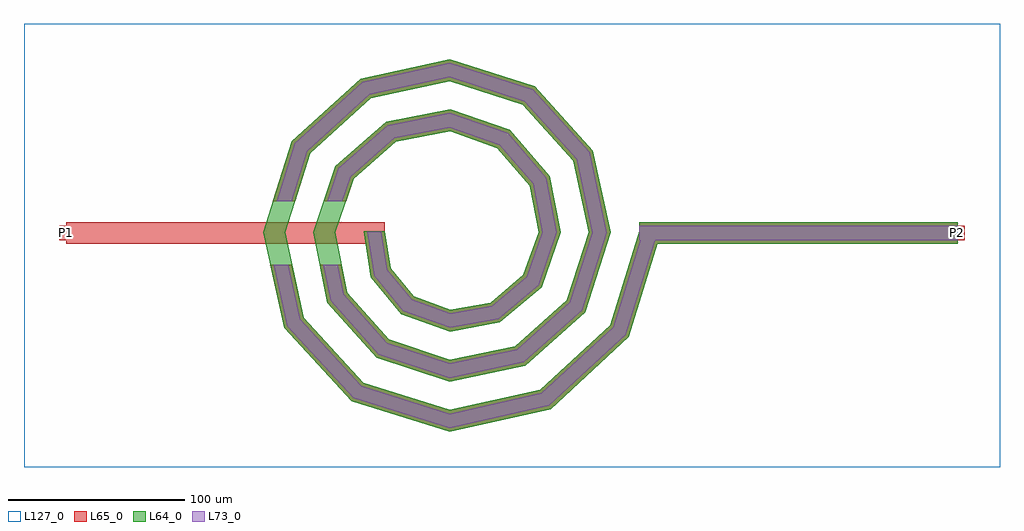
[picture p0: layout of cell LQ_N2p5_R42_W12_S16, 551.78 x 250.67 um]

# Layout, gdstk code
import gdstk
lib = gdstk.Library(unit=1e-6, precision=1e-09)
def R(c, l, rs):  # rectangles x0, y0, x1, y1
    for r in rs: c.add(gdstk.rectangle(r[:2], r[2:], *l))
def P(c, l, *ps):  # polygons
    for p in ps: c.add(gdstk.Polygon(p, *l))
L64_0 = (64, 0)
L65_0 = (65, 0)
L73_0 = (73, 0)
L127_0 = (127, 0)

lq_n2p5_r42_w12_s16 = lib.new_cell('LQ_N2p5_R42_W12_S16')
R(lq_n2p5_r42_w12_s16, L64_0, [(107.292,-6,287.292,6)])
P(lq_n2p5_r42_w12_s16, L64_0, [(-33.175,-19.856),(-20.008,-35.81),(0.55,-43.374),(23.322,-39.343),(41.9,-23.61),(50.45,0.482),(45.503,26.805),(27.199,48),(0.429,57.528),(-30.301,51.657),(-54.106,30.778),(-64.606,0.386),(-57.807,-33.806),(-34.349,-60.218),(0.351,-71.685),(37.317,-63.954),(66.334,-37.916),(78.764,0.322),(70.099,40.833),(41.478,72.452),(0.297,85.844),(-44.353,76.242),(-78.572,45.037),(-92.924,0.276),(-82.383,-47.875),(-48.594,-84.694),(0.257,-100.004),(51.4,-88.524),(90.817,-52.149),(107.561,1.779),(119.022,-1.779),(101.322,-58.783),(57.171,-99.527),(0.257,-112.418),(-55.257,-95.181),(-93.403,-53.615),(-105.337,0.276),(-89.039,51.733),(-50.057,87.28),(0.297,98.255),(48.211,82.895),(81.159,46.496),(91.173,0.322),(76.748,-44.693),(42.931,-75.04),(0.351,-84.091),(-41.179,-70.6),(-68.923,-39.361),(-77.009,0.386),(-64.447,37.669),(-35.785,62.809),(0.429,69.925),(34.167,58.29),(56.699,32.201),(62.841,0.482),(52.126,-30.675),(28.604,-50.594),(0.55,-55.756),(-27.197,-45.951),(-44.498,-24.989),(-48.407,0.963),(-36.562,0.963)])
R(lq_n2p5_r42_w12_s16, L65_0, [(-216.484,-6,-36.484,6), (107.292,-6,287.292,6), (-220.484,-4,-212.484,4), (283.292,-4,291.292,4)])
P(lq_n2p5_r42_w12_s16, L65_0, [(-82.383,-47.875),(-48.594,-84.694),(0.257,-100.004),(51.4,-88.524),(90.817,-52.149),(107.562,1.779),(119.022,-1.779),(101.322,-58.783),(57.171,-99.527),(0.257,-112.418),(-55.257,-95.181),(-93.403,-53.615),(-101.29,-18),(-88.999,-18)],
  [(-57.807,-33.806),(-34.349,-60.218),(0.351,-71.685),(37.317,-63.954),(66.334,-37.916),(78.764,0.322),(70.099,40.833),(41.478,72.452),(0.297,85.844),(-44.353,76.242),(-78.572,45.037),(-87.135,18),(-99.723,18),(-89.039,51.733),(-50.057,87.28),(0.297,98.255),(48.211,82.895),(81.159,46.496),(91.173,0.322),(76.749,-44.693),(42.931,-75.04),(0.351,-84.091),(-41.179,-70.6),(-68.923,-39.361),(-73.268,-18),(-61.023,-18)],
  [(-20.008,-35.81),(0.55,-43.374),(23.322,-39.343),(41.9,-23.61),(50.45,0.482),(45.503,26.805),(27.199,48),(0.429,57.528),(-30.301,51.657),(-54.107,30.778),(-58.411,18),(-71.074,18),(-64.447,37.67),(-35.785,62.809),(0.429,69.926),(34.168,58.29),(56.699,32.201),(62.841,0.482),(52.126,-30.675),(28.604,-50.594),(0.55,-55.756),(-27.197,-45.951),(-44.498,-24.989),(-48.407,0.963),(-36.562,0.963),(-33.175,-19.856)])
R(lq_n2p5_r42_w12_s16, L73_0, [(107.292,-4,287.292,4)])
P(lq_n2p5_r42_w12_s16, L73_0, [(-84.22,-48.832),(-49.704,-86.442),(0.172,-102.073),(52.362,-90.358),(92.568,-53.254),(109.472,1.186),(117.112,-1.186),(99.571,-57.677),(56.209,-97.693),(0.172,-110.349),(-54.146,-93.433),(-91.567,-52.659),(-99.241,-18),(-91.047,-18)],
  [(-59.66,-34.732),(-35.487,-61.948),(0.234,-73.753),(38.253,-65.802),(68.069,-39.045),(80.832,0.214),(71.942,41.777),(42.6,74.192),(0.198,87.912),(-45.303,78.082),(-80.316,46.153),(-89.233,18),(-97.625,18),(-87.294,50.617),(-49.106,85.441),(0.198,96.187),(47.089,81.154),(79.316,45.552),(89.105,0.214),(75.013,-43.563),(41.995,-73.192),(0.234,-82.023),(-40.04,-68.869),(-67.07,-38.436),(-71.227,-18),(-63.064,-18)],
  [(-21.206,-37.5),(0.367,-45.438),(24.202,-41.218),(43.604,-24.788),(52.515,0.321),(47.369,27.705),(28.36,49.715),(0.286,59.594),(-31.215,53.516),(-55.83,31.926),(-60.522,18),(-68.964,18),(-62.724,36.521),(-34.871,60.95),(0.286,67.859),(33.006,56.575),(54.833,31.302),(60.776,0.321),(50.421,-29.498),(27.723,-48.719),(0.367,-53.692),(-25.999,-44.261),(-42.611,-24.133),(-46.432,0.642),(-38.536,0.642),(-35.062,-20.711)])
R(lq_n2p5_r42_w12_s16, L127_0, [(-240.484,-132.418,311.292,118.255)])
lq_n2p5_r42_w12_s16.add(gdstk.Label('P2', (287.292,0), layer=65, texttype=0))
lq_n2p5_r42_w12_s16.add(gdstk.Label('P1', (-216.484,0), layer=65, texttype=0))
lq_n2p5_r42_w12_s16.add(gdstk.Label('P2', (291.292,0), layer=145, texttype=0))
lq_n2p5_r42_w12_s16.add(gdstk.Label('P1', (-220.484,0), layer=145, texttype=0))

lib.write_gds('LQ_N2p5_R42_W12_S16.gds')
